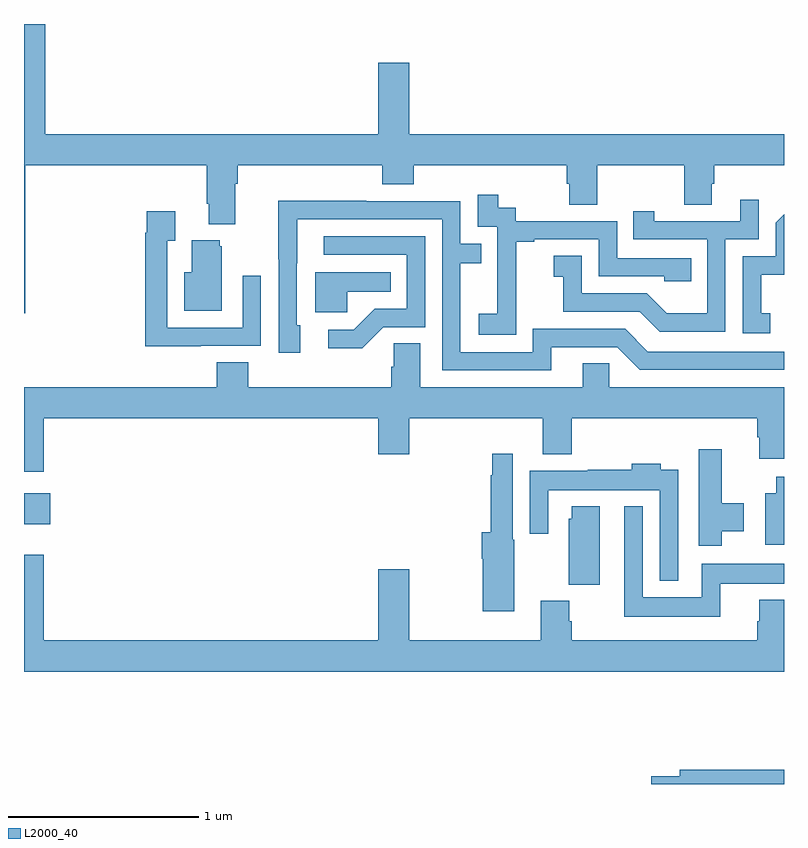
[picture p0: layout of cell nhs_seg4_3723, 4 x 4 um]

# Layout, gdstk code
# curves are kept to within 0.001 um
import gdstk
lib = gdstk.Library(unit=1e-6, precision=1e-09)
def R(c, l, rs):  # rectangles x0, y0, x1, y1
    for r in rs: c.add(gdstk.rectangle(r[:2], r[2:], *l))
def P(c, l, *ps):  # polygons
    for p in ps: c.add(gdstk.Polygon(p, *l))
L2000_40 = (2000, 40)

nhs_seg4_3723 = lib.new_cell('nhs_seg4_3723')
R(nhs_seg4_3723, L2000_40, [(307,792.266,307.138,792.43)])
P(nhs_seg4_3723, L2000_40, [(307.007,794.156),(307.961,794.156),(307.961,793.954),(307.973,793.954),(307.973,793.847),(308.113,793.847),(308.113,794.06),(308.126,794.06),(308.126,794.156),(308.885,794.156),(308.885,794.057),(309.05,794.057),(309.05,794.156),(309.857,794.156),(309.857,794.058),(309.869,794.058),(309.869,793.948),(310.017,793.948),(310.017,794.156),(310.474,794.156),(310.474,793.948),(310.621,793.948),(310.621,794.058),(310.634,794.058),(310.634,794.156),(311,794.156),(311,794.32),(309.028,794.32),(309.028,794.695),(308.864,794.695),(308.864,794.32),(307.112,794.32),(307.112,794.9),(307,794.9),(307,793.377),(307.007,793.377)],
  [(309.591,793.471),(309.59,793.471),(309.59,793.755),(309.685,793.755),(309.685,793.767),(310.026,793.767),(310.026,793.572),(310.371,793.572),(310.371,793.545),(310.511,793.545),(310.511,793.668),(310.122,793.668),(310.122,793.863),(309.588,793.863),(309.588,793.932),(309.496,793.932),(309.496,794.002),(309.387,794.002),(309.387,793.833),(309.492,793.833),(309.492,793.604),(309.491,793.604),(309.491,793.375),(309.393,793.375),(309.393,793.265),(309.591,793.265)],
  [(310.692,793.767),(310.866,793.767),(310.866,793.975),(310.769,793.975),(310.769,793.863),(310.318,793.863),(310.318,793.915),(310.207,793.915),(310.207,793.767),(310.596,793.767),(310.596,793.378),(310.382,793.378),(310.278,793.482),(309.936,793.482),(309.936,793.681),(309.789,793.681),(309.789,793.571),(309.838,793.571),(309.838,793.386),(310.241,793.386),(310.346,793.281),(310.692,793.281)],
  [(309.775,793.2),(310.122,793.2),(310.242,793.08),(311,793.08),(311,793.176),(310.284,793.176),(310.164,793.296),(309.678,793.296),(309.678,793.173),(309.297,793.173),(309.297,793.642),(309.407,793.642),(309.407,793.743),(309.297,793.743),(309.297,793.968),(308.801,793.968),(308.801,793.97),(308.338,793.97),(308.338,793.663),(308.34,793.663),(308.34,793.17),(308.455,793.17),(308.455,793.314),(308.436,793.314),(308.437,793.872),(309.201,793.872),(309.201,793.077),(309.775,793.077)],
  [(307.931,793.206),(308.247,793.206),(308.247,793.576),(308.151,793.576),(308.151,793.302),(307.755,793.302),(307.755,793.759),(307.795,793.759),(307.795,793.915),(307.647,793.915),(307.647,793.802),(307.639,793.802),(307.639,793.205),(307.931,793.205)],
  [(310.928,793.377),(310.879,793.377),(310.879,793.581),(311,793.581),(311,793.898),(310.956,793.854),(310.956,793.677),(310.782,793.677),(310.782,793.272),(310.928,793.272)],
  [(308.892,793.305),(309.111,793.305),(309.111,793.782),(308.577,793.782),(308.577,793.686),(309.015,793.686),(309.015,793.401),(308.846,793.401),(308.735,793.29),(308.601,793.29),(308.601,793.193),(308.779,793.193)],
  [(308.041,793.731),(308.03,793.731),(308.03,793.762),(307.883,793.762),(307.883,793.594),(307.844,793.594),(307.844,793.391),(308.041,793.391)],
  [(308.7,793.49),(308.93,793.49),(308.93,793.594),(308.534,793.594),(308.534,793.382),(308.7,793.382)],
  [(307.105,792.824),(308.864,792.824),(308.864,792.636),(309.028,792.636),(309.028,792.824),(309.731,792.824),(309.731,792.635),(309.884,792.635),(309.884,792.824),(310.859,792.824),(310.859,792.726),(310.871,792.726),(310.871,792.612),(311,792.612),(311,792.988),(310.08,792.988),(310.08,793.115),(309.941,793.115),(309.941,792.988),(309.085,792.988),(309.085,793.22),(308.946,793.22),(308.946,793.097),(308.933,793.097),(308.933,792.988),(308.18,792.988),(308.18,793.121),(308.015,793.121),(308.015,792.988),(307,792.988),(307,792.543),(307.105,792.543)],
  [(310.672,792.23),(310.789,792.23),(310.789,792.378),(310.672,792.378),(310.672,792.661),(310.55,792.661),(310.55,792.153),(310.672,792.153)],
  [(309.58,792.186),(309.573,792.186),(309.573,792.637),(309.465,792.637),(309.465,792.524),(309.457,792.524),(309.457,792.226),(309.41,792.226),(309.41,792.086),(309.415,792.086),(309.415,791.81),(309.58,791.81)],
  [(310.443,792.553),(310.351,792.553),(310.351,792.586),(310.199,792.586),(310.199,792.553),(309.967,792.553),(309.967,792.55),(309.663,792.55),(309.663,792.216),(309.759,792.216),(309.759,792.446),(310.347,792.446),(310.347,791.969),(310.443,791.969)],
  [(311,792.517),(310.958,792.517),(310.958,792.43),(310.901,792.43),(310.901,792.158),(311,792.158)],
  [(310.664,791.954),(311,791.954),(311,792.058),(310.566,792.058),(310.566,791.884),(310.257,791.884),(310.257,792.361),(310.16,792.361),(310.16,791.78),(310.664,791.78)],
  [(310.03,792.361),(309.884,792.361),(309.884,792.297),(309.866,792.297),(309.866,791.95),(310.03,791.95)],
  [(309.871,791.756),(309.871,791.865),(309.719,791.865),(309.719,791.656),(309.028,791.656),(309.028,792.031),(308.864,792.031),(308.864,791.656),(307.105,791.656),(307.105,792.106),(307,792.106),(307,791.492),(311,791.492),(311,791.869),(310.871,791.869),(310.871,791.757),(310.859,791.757),(310.859,791.656),(309.884,791.656),(309.884,791.756)],
  [(311,790.976),(310.451,790.976),(310.451,790.94),(310.302,790.94),(310.302,790.9),(311,790.9)])

lib.write_gds('nhs_seg4_3723.gds')
